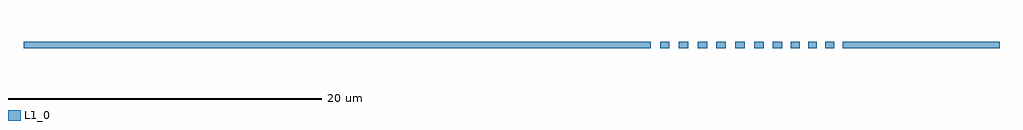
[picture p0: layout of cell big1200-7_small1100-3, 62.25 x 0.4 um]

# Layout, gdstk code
import gdstk
lib = gdstk.Library(unit=1e-6, precision=1e-09)
def R(c, l, rs):  # rectangles x0, y0, x1, y1
    for r in rs: c.add(gdstk.rectangle(r[:2], r[2:], *l))
def A(c, l, x, y, w, h, nx, ny, dx, dy):  # array of equal rectangles
    R(c, l, [(x+i*dx, y+j*dy, x+i*dx+w, y+j*dy+h) for i in range(nx) for j in range(ny)])
L1_0 = (1, 0)

big1200_7_small1100_3 = lib.new_cell('big1200-7_small1100-3')
A(big1200_7_small1100_3, L1_0, 0.6, 0, 0.6, 0.4, 7, 1, 1.2, 0)
A(big1200_7_small1100_3, L1_0, 8.95, 0, 0.55, 0.4, 3, 1, 1.1, 0)
R(big1200_7_small1100_3, L1_0, [(-40,0,0,0.4), (12.25,0,22.25,0.4)])

lib.write_gds('big1200-7_small1100-3.gds')
